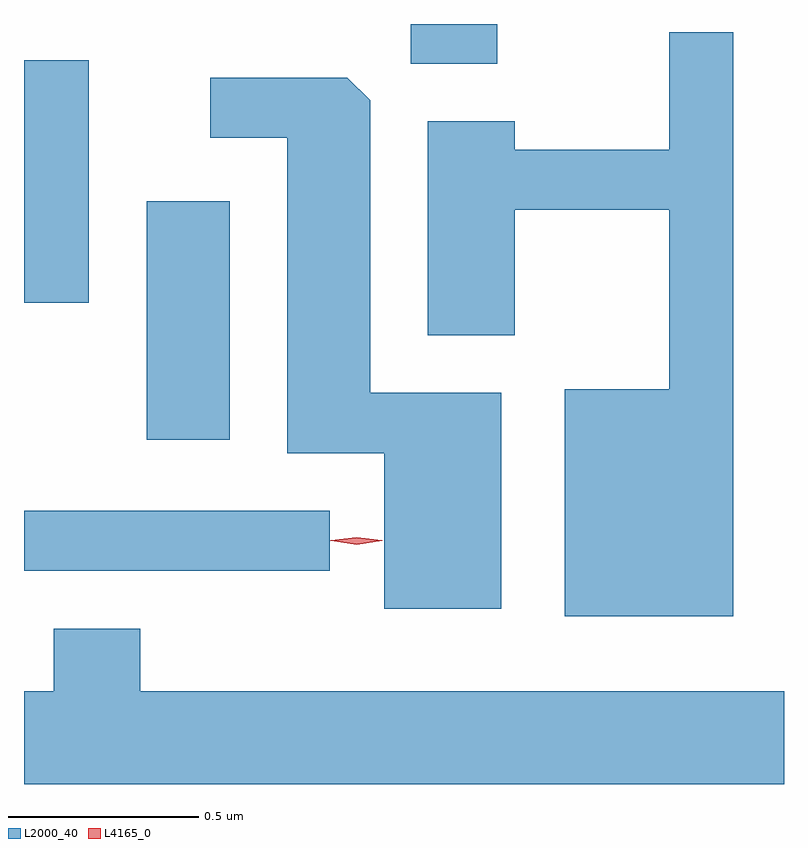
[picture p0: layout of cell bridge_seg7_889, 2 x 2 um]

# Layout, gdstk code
import gdstk
lib = gdstk.Library(unit=1e-6, precision=1e-09)
def R(c, l, rs):  # rectangles x0, y0, x1, y1
    for r in rs: c.add(gdstk.rectangle(r[:2], r[2:], *l))
def P(c, l, *ps):  # polygons
    for p in ps: c.add(gdstk.Polygon(p, *l))
L2000_40 = (2000, 40)
L4165_0 = (4165, 0)

bridge_seg7_889 = lib.new_cell('bridge_seg7_889')
R(bridge_seg7_889, L2000_40, [(391.073,1710.461,391.878,1710.619), (391.396,1710.806,391.614,1711.434), (391.073,1711.166,391.244,1711.804), (392.091,1711.796,392.319,1711.9)])
P(bridge_seg7_889, L2000_40, [(392.939,1711.878),(392.771,1711.878),(392.771,1711.569),(392.364,1711.569),(392.364,1711.644),(392.136,1711.644),(392.136,1711.081),(392.364,1711.081),(392.364,1711.411),(392.771,1711.411),(392.771,1710.939),(392.496,1710.939),(392.496,1710.341),(392.939,1710.341)],
  [(392.329,1710.929),(391.984,1710.929),(391.984,1711.699),(391.924,1711.759),(391.563,1711.759),(391.563,1711.601),(391.766,1711.601),(391.766,1710.771),(392.021,1710.771),(392.021,1710.361),(392.329,1710.361)],
  [(393.073,1710.144),(391.379,1710.144),(391.379,1710.309),(391.151,1710.309),(391.151,1710.144),(391.073,1710.144),(391.073,1709.9),(393.073,1709.9)])
P(bridge_seg7_889, L4165_0, [(391.948,1710.53),(391.88,1710.54),(391.879,1710.54),(391.88,1710.541),(391.948,1710.55),(392.016,1710.541),(392.016,1710.54),(392.016,1710.54)])

lib.write_gds('bridge_seg7_889.gds')
